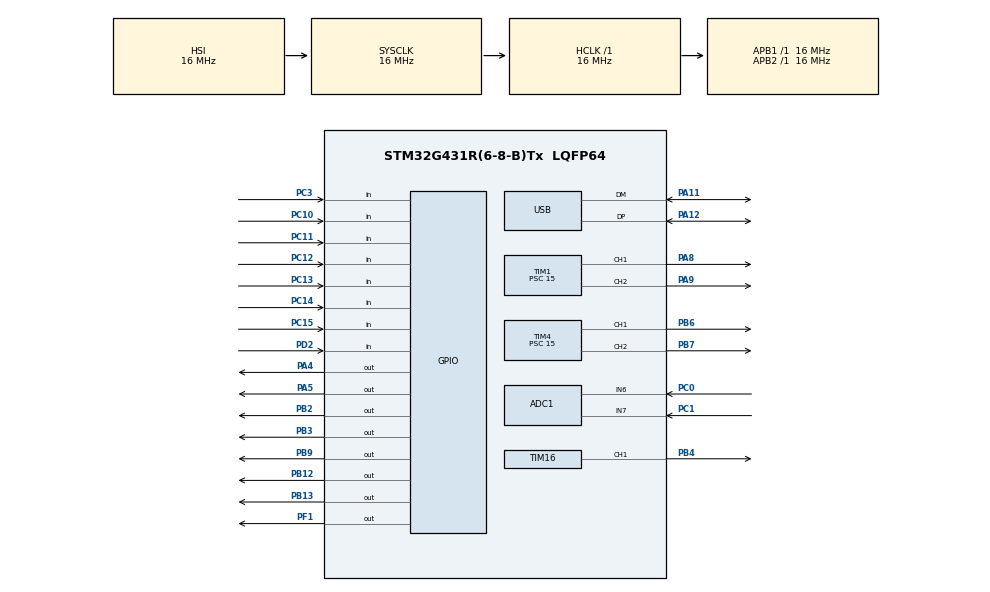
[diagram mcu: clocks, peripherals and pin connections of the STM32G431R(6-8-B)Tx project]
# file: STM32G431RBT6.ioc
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ADC1.Channel-0\#ChannelRegularConversion=ADC_CHANNEL_6
ADC1.NbrOfConversionFlag=1
ADC1.OffsetNumber-0\#ChannelRegularConversion=ADC_OFFSET_NONE
ADC1.Rank-0\#ChannelRegularConversion=1
ADC1.SamplingTime-0\#ChannelRegularConversion=ADC_SAMPLETIME_2CYCLES_5
ADC1.SingleDiff-0\#ChannelRegularConversion=ADC_DIFFERENTIAL_ENDED
ADC1.master=1
Mcu.Family=STM32G4
Mcu.Name=STM32G431R(6-8-B)Tx
Mcu.Package=LQFP64
NVIC.PriorityGroup=NVIC_PRIORITYGROUP_4
PA0.Signal=S_TIM2_CH1
PA1.Signal=S_TIM2_CH2
PA10.Signal=S_TIM1_CH3
PA11.Mode=Device
PA11.Signal=USB_DM
PA12.Mode=Device
PA12.Signal=USB_DP
PA13.Signal=SYS_JTMS-SWDIO
PA14.Signal=SYS_JTCK-SWCLK
PA2.Signal=S_TIM2_CH3
PA3.Signal=S_TIM2_CH4
PA4.Signal=GPIO_Output
PA5.Signal=GPIO_Output
PA6.Signal=S_TIM3_CH1
PA8.Signal=S_TIM1_CH1
PA9.Signal=S_TIM1_CH2
PB0.Signal=S_TIM3_CH3
PB1.Signal=S_TIM3_CH4
PB10.Signal=USART3_TX
PB11.Signal=USART3_RX
PB12.Signal=GPIO_Output
PB13.Signal=GPIO_Output
PB14.Signal=S_TIM15_CH1
PB15.Signal=S_TIM15_CH2
PB2.Signal=GPIO_Output
PB3.Signal=GPIO_Output
PB4.Signal=S_TIM16_CH1
PB5.Signal=S_TIM17_CH1
PB6.Signal=S_TIM4_CH1
PB7.Signal=S_TIM4_CH2
PB9.Signal=GPIO_Output
PC0.Mode=IN6-Differential
PC0.Signal=ADC1_IN6
PC1.Mode=IN6-Differential
PC1.Signal=ADC1_IN7
PC10.GPIO_PuPd=GPIO_PULLUP
PC10.Signal=GPIO_Input
PC11.GPIO_PuPd=GPIO_PULLUP
PC11.Signal=GPIO_Input
PC12.Signal=GPIO_Input
PC13.Signal=GPIO_Input
PC14-OSC32_IN.GPIO_PuPd=GPIO_PULLUP
PC14-OSC32_IN.Signal=GPIO_Input
PC15-OSC32_OUT.GPIO_PuPd=GPIO_PULLUP
PC15-OSC32_OUT.Signal=GPIO_Input
PC2.Signal=ADC1_IN8
PC3.GPIO_PuPd=GPIO_PULLDOWN
PC3.Signal=GPIO_Input
PC4.Signal=USART1_TX
PC5.Signal=USART1_RX
PC6.Signal=S_TIM8_CH1
PC7.Signal=S_TIM8_CH2
PC8.Signal=I2C3_SCL
PC9.Signal=I2C3_SDA
PD2.Signal=GPIO_Input
PF1-OSC_OUT.Signal=GPIO_Output
ProjectManager.HeapSize=0x200
ProjectManager.StackSize=0x400
ProjectManager.TargetToolchain=STM32CubeIDE
RCC.AHBFreq_Value=16000000
RCC.APB1Freq_Value=16000000
RCC.APB1TimFreq_Value=16000000
RCC.APB2Freq_Value=16000000
RCC.APB2TimFreq_Value=16000000
RCC.CortexFreq_Value=16000000
RCC.EXTERNAL_CLOCK_VALUE=12288000
RCC.HCLKFreq_Value=16000000
RCC.HSE_VALUE=8000000
RCC.HSI48_VALUE=48000000
RCC.HSI_VALUE=16000000
RCC.LSE_VALUE=32768
RCC.PLLN=12
RCC.PLLQ=RCC_PLLQ_DIV4
RCC.SYSCLKFreq_VALUE=16000000
RCC.USBFreq_Value=48000000
RCC.VCOOutputFreq_Value=192000000
SH.S_TIM15_CH1.0=TIM15_CH1
SH.S_TIM15_CH2.0=TIM15_CH2
SH.S_TIM16_CH1.0=TIM16_CH1,PWM Generation1 CH1
SH.S_TIM17_CH1.0=TIM17_CH1
SH.S_TIM1_CH1.0=TIM1_CH1,PWM Generation1 CH1
SH.S_TIM1_CH2.0=TIM1_CH2,PWM Generation2 CH2
SH.S_TIM1_CH3.0=TIM1_CH3
SH.S_TIM2_CH1.0=TIM2_CH1
SH.S_TIM2_CH2.0=TIM2_CH2
SH.S_TIM2_CH3.0=TIM2_CH3
SH.S_TIM2_CH4.0=TIM2_CH4
SH.S_TIM3_CH1.0=TIM3_CH1
SH.S_TIM3_CH3.0=TIM3_CH3
SH.S_TIM3_CH4.0=TIM3_CH4
SH.S_TIM4_CH1.0=TIM4_CH1,PWM Generation1 CH1
SH.S_TIM4_CH2.0=TIM4_CH2,PWM Generation2 CH2
SH.S_TIM8_CH1.0=TIM8_CH1
SH.S_TIM8_CH2.0=TIM8_CH2
TIM1.Channel-PWM\ Generation1\ CH1=TIM_CHANNEL_1
TIM1.Channel-PWM\ Generation2\ CH2=TIM_CHANNEL_2
TIM1.PeriodNoDither=999
TIM1.Prescaler=15
TIM1.PulseNoDither_1=500
TIM1.PulseNoDither_2=500
TIM16.Channel=TIM_CHANNEL_1
TIM16.PeriodNoDither=1999
TIM16.Prescaler=15
TIM16.PulseNoDither_1=1000
TIM4.Channel-PWM\ Generation1\ CH1=TIM_CHANNEL_1
TIM4.Channel-PWM\ Generation2\ CH2=TIM_CHANNEL_2
TIM4.PeriodNoDither=19999
TIM4.Prescaler=15
TIM4.PulseNoDither_1=1500
VP_SYS_VS_DBSignals.Mode=DisableDeadBatterySignals
VP_TIM16_VS_ClockSourceINT.Mode=Enable_Timer
VP_TIM1_VS_ClockSourceINT.Mode=Internal
VP_TIM4_VS_ClockSourceINT.Mode=Internal
board=custom

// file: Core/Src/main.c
/* USER CODE BEGIN Header */
/**
  ******************************************************************************
  * @file           : main.c
  * @brief          : Main program body
  ******************************************************************************
  * @attention
  *
  * Copyright (c) 2026 STMicroelectronics.
  * All rights reserved.
  *
  * This software is licensed under terms that can be found in the LICENSE file
  * in the root directory of this software component.
  * If no LICENSE file comes with this software, it is provided AS-IS.
  *
  ******************************************************************************
  */
/* USER CODE END Header */
#include "main.h"

/* USER CODE BEGIN Includes */
#include "motor.h"
#include "stepper.h"
#include "servo.h"
#include "switch.h"
/* USER CODE END Includes */

/* USER CODE BEGIN PD */
/* Change to 1 if DIR=0 travels away from SW4 on the assembled robot. */
#define DIR_TO_SWITCH4 0U
#define SWITCH_DEBOUNCE_MS 30U
/* Change this one value to adjust speed; period and pulse width follow it. */
#define STEPPER_STEP_HZ 500U
#define STEPPER_TIMER_HZ 1000000U
#if (STEPPER_STEP_HZ == 0U)
#error Step frequency must be nonzero
#elif ((STEPPER_TIMER_HZ / STEPPER_STEP_HZ) < 2U) || ((STEPPER_TIMER_HZ / STEPPER_STEP_HZ) > 65536U)
#error Step period must fit TIM16 and leave time for both high and low levels
#endif

/* USER CODE END PD */

ADC_HandleTypeDef hadc1;

TIM_HandleTypeDef htim1;
TIM_HandleTypeDef htim4;
TIM_HandleTypeDef htim16;

PCD_HandleTypeDef hpcd_USB_FS;

/* USER CODE BEGIN PV */
static uint8_t target_switch = 4U;
/* Both travel limits pressed together latches this fault until reset. */
static volatile uint8_t limit_fault = 0U;

/* USER CODE END PV */

void SystemClock_Config(void);
static void MX_GPIO_Init(void);
static void MX_ADC1_Init(void);
static void MX_USB_PCD_Init(void);
static void MX_TIM1_Init(void);
static void MX_TIM16_Init(void);
static void MX_TIM4_Init(void);

/* USER CODE BEGIN 0 */
static uint8_t StepperDirectionToTarget(void)
{
  return (target_switch == 4U) ? DIR_TO_SWITCH4 : (DIR_TO_SWITCH4 ^ 1U);
}

/* USER CODE END 0 */

int main(void)
{

  /* MCU Configuration--------------------------------------------------------*/

  /* Reset of all peripherals, Initializes the Flash interface and the Systick. */
  HAL_Init();

  /* Configure the system clock */
  SystemClock_Config();

  /* Initialize all configured peripherals */
  MX_GPIO_Init();
  while (HAL_GPIO_ReadPin(GPIOC, GPIO_PIN_11) == GPIO_PIN_SET)
  {
      HAL_Delay(1);
  }

  MX_ADC1_Init();
  // MX_USB_PCD_Init();  // USB hardware disabled for now.
  MX_TIM1_Init();
  MX_TIM16_Init();
  MX_TIM4_Init();
  /* USER CODE BEGIN 2 */

  Motor1_Init(&htim1);
  Motor1_SetDuty(100);
  Stepper1_Init(&htim16);

  Servo_Init(&htim4);
  servo(2, 20);  // Servo 2 to centre (1500 µs)
  /* Servo PWM is not started during this stepper test. */

  /* TIM16 counts at 1 MHz. Keep STEP high for half of each period. */
  const uint32_t step_period_ticks = STEPPER_TIMER_HZ / STEPPER_STEP_HZ;
  __HAL_TIM_SET_AUTORELOAD(&htim16, step_period_ticks - 1U);
  __HAL_TIM_SET_COMPARE(&htim16, TIM_CHANNEL_1, step_period_ticks / 2U);
  HAL_TIM_GenerateEvent(&htim16, TIM_EVENTSOURCE_UPDATE);

  /* Begin travel immediately after initialization; no start-button wait. */

  if (Switch_IsPressed(1) && Switch_IsPressed(4))
  {
    limit_fault = 1U;
  }
  else
  {
    /* If already at SW4, move away toward SW1. Otherwise seek SW4 first. */
    target_switch = Switch_IsPressed(4) ? 1U : 4U;
    Stepper1_Start(StepperDirectionToTarget());
  }
  /* USER CODE END 2 */

  /* Infinite loop */
  while (1)
  {

    /* USER CODE BEGIN 3 */
    if (!limit_fault)
    {
      if (Switch_IsPressed(1) && Switch_IsPressed(4))
      {
        Stepper1_Stop();
        limit_fault = 1U;
      }
      else if (Switch_IsPressed(target_switch))
      {
        /* Stop on the first press; debounce with the motor stopped. */
        Stepper1_Stop();
        HAL_Delay(SWITCH_DEBOUNCE_MS);

        if (Switch_IsPressed(1) && Switch_IsPressed(4))
        {
          limit_fault = 1U;
        }
        else
        {
          if (Switch_IsPressed(target_switch))
          {
            target_switch = (target_switch == 4U) ? 1U : 4U;
          }
          /* A false press resumes toward the SAME target, in either direction. */
          Stepper1_Start(StepperDirectionToTarget());
        }
      }
    }
    HAL_Delay(1);
  }
  /* USER CODE END 3 */
}

void SystemClock_Config(void)
{
  RCC_OscInitTypeDef RCC_OscInitStruct = {0};
  RCC_ClkInitTypeDef RCC_ClkInitStruct = {0};

  /** Configure the main internal regulator output voltage
  */
  HAL_PWREx_ControlVoltageScaling(PWR_REGULATOR_VOLTAGE_SCALE1);

  /** Initializes the RCC Oscillators according to the specified parameters
  * in the RCC_OscInitTypeDef structure.
  */
  RCC_OscInitStruct.OscillatorType = RCC_OSCILLATORTYPE_HSI;
  RCC_OscInitStruct.HSIState = RCC_HSI_ON;
  RCC_OscInitStruct.HSICalibrationValue = RCC_HSICALIBRATION_DEFAULT;
  RCC_OscInitStruct.PLL.PLLState = RCC_PLL_ON;
  RCC_OscInitStruct.PLL.PLLSource = RCC_PLLSOURCE_HSI;
  RCC_OscInitStruct.PLL.PLLM = RCC_PLLM_DIV1;
  RCC_OscInitStruct.PLL.PLLN = 12;
  RCC_OscInitStruct.PLL.PLLP = RCC_PLLP_DIV2;
  RCC_OscInitStruct.PLL.PLLQ = RCC_PLLQ_DIV4;
  RCC_OscInitStruct.PLL.PLLR = RCC_PLLR_DIV2;
  if (HAL_RCC_OscConfig(&RCC_OscInitStruct) != HAL_OK)
  {
    Error_Handler();
  }

  /** Initializes the CPU, AHB and APB buses clocks
  */
  RCC_ClkInitStruct.ClockType = RCC_CLOCKTYPE_HCLK|RCC_CLOCKTYPE_SYSCLK
                              |RCC_CLOCKTYPE_PCLK1|RCC_CLOCKTYPE_PCLK2;
  RCC_ClkInitStruct.SYSCLKSource = RCC_SYSCLKSOURCE_HSI;
  RCC_ClkInitStruct.AHBCLKDivider = RCC_SYSCLK_DIV1;
  RCC_ClkInitStruct.APB1CLKDivider = RCC_HCLK_DIV1;
  RCC_ClkInitStruct.APB2CLKDivider = RCC_HCLK_DIV1;

  if (HAL_RCC_ClockConfig(&RCC_ClkInitStruct, FLASH_LATENCY_0) != HAL_OK)
  {
    Error_Handler();
  }
}

static void MX_ADC1_Init(void)
{

  ADC_MultiModeTypeDef multimode = {0};
  ADC_ChannelConfTypeDef sConfig = {0};

  /** Common config
  */
  hadc1.Instance = ADC1;
  hadc1.Init.ClockPrescaler = ADC_CLOCK_SYNC_PCLK_DIV2;
  hadc1.Init.Resolution = ADC_RESOLUTION_12B;
  hadc1.Init.DataAlign = ADC_DATAALIGN_RIGHT;
  hadc1.Init.GainCompensation = 0;
  hadc1.Init.ScanConvMode = ADC_SCAN_DISABLE;
  hadc1.Init.EOCSelection = ADC_EOC_SINGLE_CONV;
  hadc1.Init.LowPowerAutoWait = DISABLE;
  hadc1.Init.ContinuousConvMode = DISABLE;
  hadc1.Init.NbrOfConversion = 1;
  hadc1.Init.DiscontinuousConvMode = DISABLE;
  hadc1.Init.ExternalTrigConv = ADC_SOFTWARE_START;
  hadc1.Init.ExternalTrigConvEdge = ADC_EXTERNALTRIGCONVEDGE_NONE;
  hadc1.Init.DMAContinuousRequests = DISABLE;
  hadc1.Init.Overrun = ADC_OVR_DATA_PRESERVED;
  hadc1.Init.OversamplingMode = DISABLE;
  if (HAL_ADC_Init(&hadc1) != HAL_OK)
  {
    Error_Handler();
  }

  /** Configure the ADC multi-mode
  */
  multimode.Mode = ADC_MODE_INDEPENDENT;
  if (HAL_ADCEx_MultiModeConfigChannel(&hadc1, &multimode) != HAL_OK)
  {
    Error_Handler();
  }

  /** Configure Regular Channel
  */
  sConfig.Channel = ADC_CHANNEL_6;
  sConfig.Rank = ADC_REGULAR_RANK_1;
  sConfig.SamplingTime = ADC_SAMPLETIME_2CYCLES_5;
  sConfig.SingleDiff = ADC_DIFFERENTIAL_ENDED;
  sConfig.OffsetNumber = ADC_OFFSET_NONE;
  sConfig.Offset = 0;
  if (HAL_ADC_ConfigChannel(&hadc1, &sConfig) != HAL_OK)
  {
    Error_Handler();
  }

}

static void MX_TIM1_Init(void)
{

  TIM_ClockConfigTypeDef sClockSourceConfig = {0};
  TIM_MasterConfigTypeDef sMasterConfig = {0};
  TIM_OC_InitTypeDef sConfigOC = {0};
  TIM_BreakDeadTimeConfigTypeDef sBreakDeadTimeConfig = {0};

  htim1.Instance = TIM1;
  htim1.Init.Prescaler = 15;
  htim1.Init.CounterMode = TIM_COUNTERMODE_UP;
  htim1.Init.Period = 999;
  htim1.Init.ClockDivision = TIM_CLOCKDIVISION_DIV1;
  htim1.Init.RepetitionCounter = 0;
  htim1.Init.AutoReloadPreload = TIM_AUTORELOAD_PRELOAD_DISABLE;
  if (HAL_TIM_Base_Init(&htim1) != HAL_OK)
  {
    Error_Handler();
  }
  sClockSourceConfig.ClockSource = TIM_CLOCKSOURCE_INTERNAL;
  if (HAL_TIM_ConfigClockSource(&htim1, &sClockSourceConfig) != HAL_OK)
  {
    Error_Handler();
  }
  if (HAL_TIM_PWM_Init(&htim1) != HAL_OK)
  {
    Error_Handler();
  }
  sMasterConfig.MasterOutputTrigger = TIM_TRGO_RESET;
  sMasterConfig.MasterOutputTrigger2 = TIM_TRGO2_RESET;
  sMasterConfig.MasterSlaveMode = TIM_MASTERSLAVEMODE_DISABLE;
  if (HAL_TIMEx_MasterConfigSynchronization(&htim1, &sMasterConfig) != HAL_OK)
  {
    Error_Handler();
  }
  sConfigOC.OCMode = TIM_OCMODE_PWM1;
  sConfigOC.Pulse = 500;
  sConfigOC.OCPolarity = TIM_OCPOLARITY_HIGH;
  sConfigOC.OCNPolarity = TIM_OCNPOLARITY_HIGH;
  sConfigOC.OCFastMode = TIM_OCFAST_DISABLE;
  sConfigOC.OCIdleState = TIM_OCIDLESTATE_RESET;
  sConfigOC.OCNIdleState = TIM_OCNIDLESTATE_RESET;
  if (HAL_TIM_PWM_ConfigChannel(&htim1, &sConfigOC, TIM_CHANNEL_1) != HAL_OK)
  {
    Error_Handler();
  }
  if (HAL_TIM_PWM_ConfigChannel(&htim1, &sConfigOC, TIM_CHANNEL_2) != HAL_OK)
  {
    Error_Handler();
  }
  sBreakDeadTimeConfig.OffStateRunMode = TIM_OSSR_DISABLE;
  sBreakDeadTimeConfig.OffStateIDLEMode = TIM_OSSI_DISABLE;
  sBreakDeadTimeConfig.LockLevel = TIM_LOCKLEVEL_OFF;
  sBreakDeadTimeConfig.DeadTime = 0;
  sBreakDeadTimeConfig.BreakState = TIM_BREAK_DISABLE;
  sBreakDeadTimeConfig.BreakPolarity = TIM_BREAKPOLARITY_HIGH;
  sBreakDeadTimeConfig.BreakFilter = 0;
  sBreakDeadTimeConfig.BreakAFMode = TIM_BREAK_AFMODE_INPUT;
  sBreakDeadTimeConfig.Break2State = TIM_BREAK2_DISABLE;
  sBreakDeadTimeConfig.Break2Polarity = TIM_BREAK2POLARITY_HIGH;
  sBreakDeadTimeConfig.Break2Filter = 0;
  sBreakDeadTimeConfig.Break2AFMode = TIM_BREAK_AFMODE_INPUT;
  sBreakDeadTimeConfig.AutomaticOutput = TIM_AUTOMATICOUTPUT_DISABLE;
  if (HAL_TIMEx_ConfigBreakDeadTime(&htim1, &sBreakDeadTimeConfig) != HAL_OK)
  {
    Error_Handler();
  }
  HAL_TIM_MspPostInit(&htim1);

}

static void MX_TIM4_Init(void)
{

  TIM_ClockConfigTypeDef sClockSourceConfig = {0};
  TIM_MasterConfigTypeDef sMasterConfig = {0};
  TIM_OC_InitTypeDef sConfigOC = {0};

  htim4.Instance = TIM4;
  htim4.Init.Prescaler = 15;
  htim4.Init.CounterMode = TIM_COUNTERMODE_UP;
  htim4.Init.Period = 19999;
  htim4.Init.ClockDivision = TIM_CLOCKDIVISION_DIV1;
  htim4.Init.AutoReloadPreload = TIM_AUTORELOAD_PRELOAD_DISABLE;
  if (HAL_TIM_Base_Init(&htim4) != HAL_OK)
  {
    Error_Handler();
  }
  sClockSourceConfig.ClockSource = TIM_CLOCKSOURCE_INTERNAL;
  if (HAL_TIM_ConfigClockSource(&htim4, &sClockSourceConfig) != HAL_OK)
  {
    Error_Handler();
  }
  if (HAL_TIM_PWM_Init(&htim4) != HAL_OK)
  {
    Error_Handler();
  }
  sMasterConfig.MasterOutputTrigger = TIM_TRGO_RESET;
  sMasterConfig.MasterSlaveMode = TIM_MASTERSLAVEMODE_DISABLE;
  if (HAL_TIMEx_MasterConfigSynchronization(&htim4, &sMasterConfig) != HAL_OK)
  {
    Error_Handler();
  }
  sConfigOC.OCMode = TIM_OCMODE_PWM1;
  sConfigOC.Pulse = 1500;
  sConfigOC.OCPolarity = TIM_OCPOLARITY_HIGH;
  sConfigOC.OCFastMode = TIM_OCFAST_DISABLE;
  if (HAL_TIM_PWM_ConfigChannel(&htim4, &sConfigOC, TIM_CHANNEL_1) != HAL_OK)
  {
    Error_Handler();
  }
  sConfigOC.Pulse = 0;
  if (HAL_TIM_PWM_ConfigChannel(&htim4, &sConfigOC, TIM_CHANNEL_2) != HAL_OK)
  {
    Error_Handler();
  }
  HAL_TIM_MspPostInit(&htim4);

}

static void MX_TIM16_Init(void)
{

  TIM_OC_InitTypeDef sConfigOC = {0};
  TIM_BreakDeadTimeConfigTypeDef sBreakDeadTimeConfig = {0};

  htim16.Instance = TIM16;
  htim16.Init.Prescaler = 15;
  htim16.Init.CounterMode = TIM_COUNTERMODE_UP;
  htim16.Init.Period = 1999;
  htim16.Init.ClockDivision = TIM_CLOCKDIVISION_DIV1;
  htim16.Init.RepetitionCounter = 0;
  htim16.Init.AutoReloadPreload = TIM_AUTORELOAD_PRELOAD_DISABLE;
  if (HAL_TIM_Base_Init(&htim16) != HAL_OK)
  {
    Error_Handler();
  }
  if (HAL_TIM_PWM_Init(&htim16) != HAL_OK)
  {
    Error_Handler();
  }
  sConfigOC.OCMode = TIM_OCMODE_PWM1;
  sConfigOC.Pulse = 1000;
  sConfigOC.OCPolarity = TIM_OCPOLARITY_HIGH;
  sConfigOC.OCNPolarity = TIM_OCNPOLARITY_HIGH;
  sConfigOC.OCFastMode = TIM_OCFAST_DISABLE;
  sConfigOC.OCIdleState = TIM_OCIDLESTATE_RESET;
  sConfigOC.OCNIdleState = TIM_OCNIDLESTATE_RESET;
  if (HAL_TIM_PWM_ConfigChannel(&htim16, &sConfigOC, TIM_CHANNEL_1) != HAL_OK)
  {
    Error_Handler();
  }
  sBreakDeadTimeConfig.OffStateRunMode = TIM_OSSR_DISABLE;
  sBreakDeadTimeConfig.OffStateIDLEMode = TIM_OSSI_DISABLE;
  sBreakDeadTimeConfig.LockLevel = TIM_LOCKLEVEL_OFF;
  sBreakDeadTimeConfig.DeadTime = 0;
  sBreakDeadTimeConfig.BreakState = TIM_BREAK_DISABLE;
  sBreakDeadTimeConfig.BreakPolarity = TIM_BREAKPOLARITY_HIGH;
  sBreakDeadTimeConfig.BreakFilter = 0;
  sBreakDeadTimeConfig.AutomaticOutput = TIM_AUTOMATICOUTPUT_DISABLE;
  if (HAL_TIMEx_ConfigBreakDeadTime(&htim16, &sBreakDeadTimeConfig) != HAL_OK)
  {
    Error_Handler();
  }
  HAL_TIM_MspPostInit(&htim16);

}

static void MX_USB_PCD_Init(void)
{

  hpcd_USB_FS.Instance = USB;
  hpcd_USB_FS.Init.dev_endpoints = 8;
  hpcd_USB_FS.Init.speed = PCD_SPEED_FULL;
  hpcd_USB_FS.Init.phy_itface = PCD_PHY_EMBEDDED;
  hpcd_USB_FS.Init.Sof_enable = DISABLE;
  hpcd_USB_FS.Init.low_power_enable = DISABLE;
  hpcd_USB_FS.Init.lpm_enable = DISABLE;
  hpcd_USB_FS.Init.battery_charging_enable = DISABLE;
  if (HAL_PCD_Init(&hpcd_USB_FS) != HAL_OK)
  {
    Error_Handler();
  }

}

static void MX_GPIO_Init(void)
{
  GPIO_InitTypeDef GPIO_InitStruct = {0};

  /* GPIO Ports Clock Enable */
  __HAL_RCC_GPIOC_CLK_ENABLE();
  __HAL_RCC_GPIOF_CLK_ENABLE();
  __HAL_RCC_GPIOA_CLK_ENABLE();
  __HAL_RCC_GPIOB_CLK_ENABLE();
  __HAL_RCC_GPIOD_CLK_ENABLE();

  /*Configure GPIO pin Output Level */
  HAL_GPIO_WritePin(GPIOF, GPIO_PIN_1, GPIO_PIN_RESET);

  /*Configure GPIO pin Output Level */
  HAL_GPIO_WritePin(GPIOA, GPIO_PIN_4|GPIO_PIN_5, GPIO_PIN_RESET);

  /*Configure GPIO pin Output Level */
  HAL_GPIO_WritePin(GPIOB, GPIO_PIN_2|GPIO_PIN_12|GPIO_PIN_13|GPIO_PIN_3
                          |GPIO_PIN_9, GPIO_PIN_RESET);

  /*Configure GPIO pins : PC13 PC12 */
  GPIO_InitStruct.Pin = GPIO_PIN_13|GPIO_PIN_12;
  GPIO_InitStruct.Mode = GPIO_MODE_INPUT;
  GPIO_InitStruct.Pull = GPIO_NOPULL;
  HAL_GPIO_Init(GPIOC, &GPIO_InitStruct);

  /*Configure GPIO pins : PC14 PC15 PC10 PC11 */
  GPIO_InitStruct.Pin = GPIO_PIN_14|GPIO_PIN_15|GPIO_PIN_10|GPIO_PIN_11;
  GPIO_InitStruct.Mode = GPIO_MODE_INPUT;
  GPIO_InitStruct.Pull = GPIO_PULLUP;
  HAL_GPIO_Init(GPIOC, &GPIO_InitStruct);

  /*Configure GPIO pin : PF1 */
  GPIO_InitStruct.Pin = GPIO_PIN_1;
  GPIO_InitStruct.Mode = GPIO_MODE_OUTPUT_PP;
  GPIO_InitStruct.Pull = GPIO_NOPULL;
  GPIO_InitStruct.Speed = GPIO_SPEED_FREQ_LOW;
  HAL_GPIO_Init(GPIOF, &GPIO_InitStruct);

  /*Configure GPIO pins : PA0 PA1 PA2 PA3 */
  GPIO_InitStruct.Pin = GPIO_PIN_0|GPIO_PIN_1|GPIO_PIN_2|GPIO_PIN_3;
  GPIO_InitStruct.Mode = GPIO_MODE_AF_PP;
  GPIO_InitStruct.Pull = GPIO_NOPULL;
  GPIO_InitStruct.Speed = GPIO_SPEED_FREQ_LOW;
  GPIO_InitStruct.Alternate = GPIO_AF1_TIM2;
  HAL_GPIO_Init(GPIOA, &GPIO_InitStruct);

  /*Configure GPIO pins : PA4 PA5 */
  GPIO_InitStruct.Pin = GPIO_PIN_4|GPIO_PIN_5;
  GPIO_InitStruct.Mode = GPIO_MODE_OUTPUT_PP;
  GPIO_InitStruct.Pull = GPIO_NOPULL;
  GPIO_InitStruct.Speed = GPIO_SPEED_FREQ_LOW;
  HAL_GPIO_Init(GPIOA, &GPIO_InitStruct);

  /*Configure GPIO pin : PA6 */
  GPIO_InitStruct.Pin = GPIO_PIN_6;
  GPIO_InitStruct.Mode = GPIO_MODE_AF_PP;
  GPIO_InitStruct.Pull = GPIO_NOPULL;
  GPIO_InitStruct.Speed = GPIO_SPEED_FREQ_LOW;
  GPIO_InitStruct.Alternate = GPIO_AF2_TIM3;
  HAL_GPIO_Init(GPIOA, &GPIO_InitStruct);

  /*Configure GPIO pins : PC4 PC5 */
  GPIO_InitStruct.Pin = GPIO_PIN_4|GPIO_PIN_5;
  GPIO_InitStruct.Mode = GPIO_MODE_AF_PP;
  GPIO_InitStruct.Pull = GPIO_NOPULL;
  GPIO_InitStruct.Speed = GPIO_SPEED_FREQ_LOW;
  GPIO_InitStruct.Alternate = GPIO_AF7_USART1;
  HAL_GPIO_Init(GPIOC, &GPIO_InitStruct);

  /*Configure GPIO pins : PB0 PB1 */
  GPIO_InitStruct.Pin = GPIO_PIN_0|GPIO_PIN_1;
  GPIO_InitStruct.Mode = GPIO_MODE_AF_PP;
  GPIO_InitStruct.Pull = GPIO_NOPULL;
  GPIO_InitStruct.Speed = GPIO_SPEED_FREQ_LOW;
  GPIO_InitStruct.Alternate = GPIO_AF2_TIM3;
  HAL_GPIO_Init(GPIOB, &GPIO_InitStruct);

  /*Configure GPIO pins : PB2 PB12 PB13 PB3
                           PB9 */
  GPIO_InitStruct.Pin = GPIO_PIN_2|GPIO_PIN_12|GPIO_PIN_13|GPIO_PIN_3
                          |GPIO_PIN_9;
  GPIO_InitStruct.Mode = GPIO_MODE_OUTPUT_PP;
  GPIO_InitStruct.Pull = GPIO_NOPULL;
  GPIO_InitStruct.Speed = GPIO_SPEED_FREQ_LOW;
  HAL_GPIO_Init(GPIOB, &GPIO_InitStruct);

  /*Configure GPIO pins : PB10 PB11 */
  GPIO_InitStruct.Pin = GPIO_PIN_10|GPIO_PIN_11;
  GPIO_InitStruct.Mode = GPIO_MODE_AF_PP;
  GPIO_InitStruct.Pull = GPIO_NOPULL;
  GPIO_InitStruct.Speed = GPIO_SPEED_FREQ_LOW;
  GPIO_InitStruct.Alternate = GPIO_AF7_USART3;
  HAL_GPIO_Init(GPIOB, &GPIO_InitStruct);

  /*Configure GPIO pins : PB14 PB15 */
  GPIO_InitStruct.Pin = GPIO_PIN_14|GPIO_PIN_15;
  GPIO_InitStruct.Mode = GPIO_MODE_AF_PP;
  GPIO_InitStruct.Pull = GPIO_NOPULL;
  GPIO_InitStruct.Speed = GPIO_SPEED_FREQ_LOW;
  GPIO_InitStruct.Alternate = GPIO_AF1_TIM15;
  HAL_GPIO_Init(GPIOB, &GPIO_InitStruct);

  /*Configure GPIO pins : PC6 PC7 */
  GPIO_InitStruct.Pin = GPIO_PIN_6|GPIO_PIN_7;
  GPIO_InitStruct.Mode = GPIO_MODE_AF_PP;
  GPIO_InitStruct.Pull = GPIO_NOPULL;
  GPIO_InitStruct.Speed = GPIO_SPEED_FREQ_LOW;
  GPIO_InitStruct.Alternate = GPIO_AF4_TIM8;
  HAL_GPIO_Init(GPIOC, &GPIO_InitStruct);

  /*Configure GPIO pins : PC8 PC9 */
  GPIO_InitStruct.Pin = GPIO_PIN_8|GPIO_PIN_9;
  GPIO_InitStruct.Mode = GPIO_MODE_AF_OD;
  GPIO_InitStruct.Pull = GPIO_NOPULL;
  GPIO_InitStruct.Speed = GPIO_SPEED_FREQ_LOW;
  GPIO_InitStruct.Alternate = GPIO_AF8_I2C3;
  HAL_GPIO_Init(GPIOC, &GPIO_InitStruct);

  /*Configure GPIO pin : PD2 */
  GPIO_InitStruct.Pin = GPIO_PIN_2;
  GPIO_InitStruct.Mode = GPIO_MODE_INPUT;
  GPIO_InitStruct.Pull = GPIO_NOPULL;
  HAL_GPIO_Init(GPIOD, &GPIO_InitStruct);

  /*Configure GPIO pin : PB5 */
  GPIO_InitStruct.Pin = GPIO_PIN_5;
  GPIO_InitStruct.Mode = GPIO_MODE_AF_PP;
  GPIO_InitStruct.Pull = GPIO_NOPULL;
  GPIO_InitStruct.Speed = GPIO_SPEED_FREQ_LOW;
  GPIO_InitStruct.Alternate = GPIO_AF10_TIM17;
  HAL_GPIO_Init(GPIOB, &GPIO_InitStruct);

  /* USER CODE BEGIN MX_GPIO_Init_2 */
  /* ES/start button: PC3 is driven to 3.3 V when pressed. */
  GPIO_InitStruct.Pin = GPIO_PIN_3;
  GPIO_InitStruct.Mode = GPIO_MODE_INPUT;
  GPIO_InitStruct.Pull = GPIO_PULLDOWN;
  HAL_GPIO_Init(GPIOC, &GPIO_InitStruct);

  /* USER CODE END MX_GPIO_Init_2 */
}

void Error_Handler(void)
{
  __disable_irq();
  while (1)
  {
  }
}
